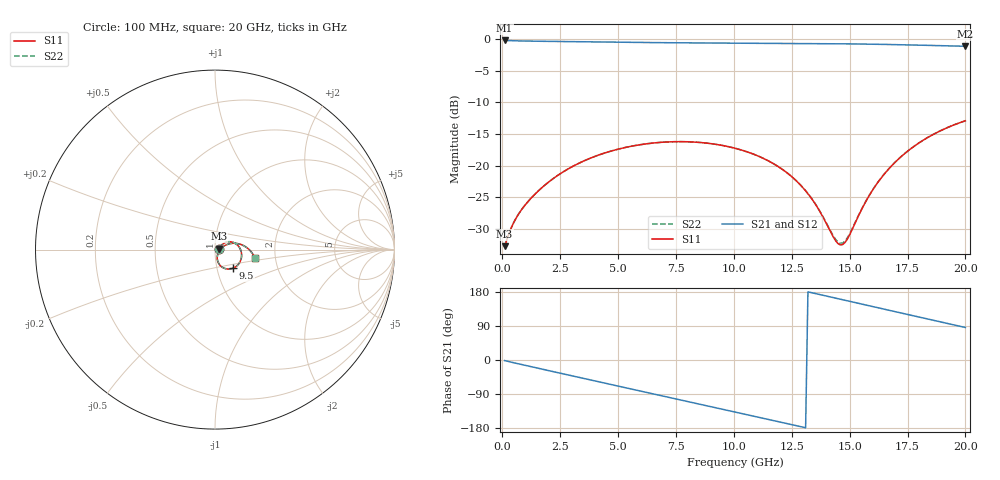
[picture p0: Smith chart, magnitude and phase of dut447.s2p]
! Touchstone file exported from HFSS 2026.1.0
!  File:  C:/ffzhzh/LocalFiles/Ansys_Project_Files/temp_train_TSV_RDL_447_1783099398_53076.aedt
!  Generated:  01:33:04 AM Jul  4, 2026
!  Design:  TSV_RDL
!  Project:  temp_train_TSV_RDL_447_1783099398_53076
! Variables:
!  h_bsmrdl = 2.56um
!  h_ox = 20um
!  h_rdl = 5um
!  h_sub = 93.05um
!  h_tmrdl = 4.92um
!  h_tsv = 93.05um
!  h_via = 3um
!  l_bsmrdl = 972.29um
!  l_sub = 4248.39um
!  l_tmrdl = 195.71um
!  m_sub = 200um
!  pitch = 30.98um
!  r_tsv = 9.69um
!  s_tmrdl = 10um
!  w_bsmrdl = 21.23um
!  w_sub = 500um
!  w_tmrdl = 28.33um
!  x_tsv_center1 = 209.875um
!  x_tsv_center2 = 1203.395um
!  x_tsv_center3 = 1427.435um
!  x_tsv_center4 = 2420.955um
!  x_tsv_center5 = 2644.995um
!  x_tsv_center6 = 3638.515um
# GHz S MA R 50.000000
! Terminal data exported
! Port[1] = TM_RDL1_1_T1
! Port[2] = TM_RDL5_1_T1
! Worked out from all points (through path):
!   200 points, 100 MHz to 20 GHz, reference 50 ohm
!   highest |S21| = -0.20 dB at 100 MHz (marker M1); lowest = -1.1 dB at 20 GHz (marker M2)
!   group delay of S21, straight-line fit = 38 ps
!   lowest |S11| = -32.7 dB at 100 MHz (marker M3), VSWR 1.05, Z = 52.3 + j0.557 ohm
!   |S11| at or under -10 dB: start of sweep to end of sweep
!   |S22| runs from -32.7 to -12.9 dB; largest |S21 - S12| = 7.7e-14
!   S11 on the Smith chart (normalised r, x): 100 MHz: 1.05, +0.01; 9.5 GHz: 1.20, -0.25; 20 GHz: 1.56, -0.15
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0.1  0.02315 13.3  0.9776 -1.5  0.9776 -1.5  0.02315 13.3
! Gamma 0 0 0 0
! Port Impedance 50 0 50 0
0.6  0.03869 32.7  0.9706 -8.7  0.9706 -8.7  0.03869 32.7
1.2  0.0544 35.7  0.9658 -17.0  0.9658 -17.0  0.05439 35.7
2.3  0.08165 31.9  0.96 -32.1  0.96 -32.1  0.08164 31.9
3.5  0.1088 21.7  0.9541 -48.5  0.9541 -48.5  0.1087 21.8
5.2  0.138 3.6  0.9459 -71.6  0.9459 -71.6  0.138 3.7
6.8  0.1529 -14.6  0.9394 -93.2  0.9394 -93.2  0.1529 -14.4
8.1  0.1545 -29.5  0.9352 -110.7  0.9352 -110.7  0.1546 -29.4
9.5  0.1448 -45.5  0.9319 -129.6  0.9319 -129.6  0.1448 -45.3
10.1  0.1368 -52.1  0.9308 -137.8  0.9308 -137.8  0.1368 -51.9
11.1  0.1183 -62.7  0.9292 -151.4  0.9292 -151.4  0.1183 -62.4
12  0.09625 -71.1  0.9277 -163.7  0.9277 -163.7  0.09636 -70.7
12.8  0.07287 -76.3  0.9261 -174.7  0.9261 -174.7  0.07305 -75.8
13.4  0.05367 -76.6  0.9246 177.1  0.9246 177.1  0.05394 -75.9
14.4  0.02548 -47.1  0.9213 163.2  0.9213 163.2  0.02612 -46.5
14.7  0.02384 -21.9  0.9201 159.1  0.9201 159.1  0.02453 -22.0
15  0.02842 0.8  0.9187 154.9  0.9187 154.9  0.02902 0.1
15.9  0.0604 22.7  0.9138 142.4  0.9138 142.4  0.0607 22.1
16.7  0.09492 21.2  0.9084 131.3  0.9084 131.3  0.09512 20.8
17.5  0.1302 15.0  0.902 120.2  0.902 120.2  0.1303 14.7
18.4  0.1684 6.0  0.8941 107.7  0.8941 107.7  0.1685 5.8
20  0.2265 -11.7  0.8794 85.8  0.8794 85.8  0.2266 -11.8
